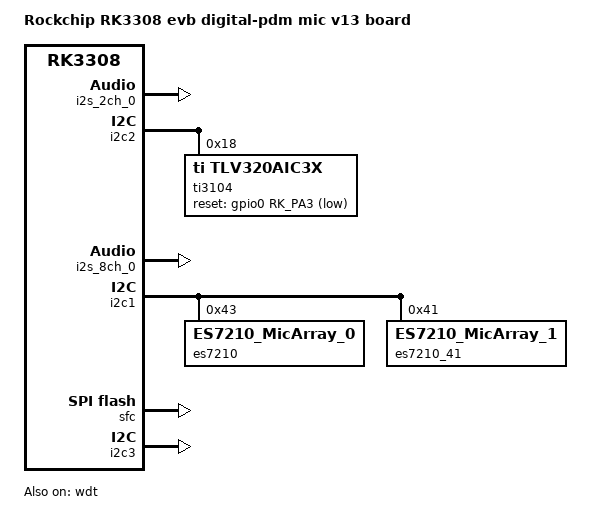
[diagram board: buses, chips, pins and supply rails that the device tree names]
// SPDX-License-Identifier: (GPL-2.0+ OR MIT)
/*
 * Copyright (c) 2018 Fuzhou Rockchip Electronics Co., Ltd
 */

/dts-v1/;

#include "rk3308hs-m800.dtsi"

/ {
	model = "Rockchip RK3308 evb digital-pdm mic v13 board";
	compatible = "rockchip,rk3308-evb-dmic-pdm-v13", "rockchip,rk3308";
	
	es7210_sound: es7210-sound {
		status = "okay";
		compatible = "simple-audio-card";
		simple-audio-card,format = "i2s";
		simple-audio-card,mclk-fs = <256>;
		simple-audio-card,name = "rockchip,es7210";

		simple-audio-card,cpu {
			sound-dai = <&i2s_8ch_0>;
		};
		simple-audio-card,codec {
			sound-dai = <&es7210>;
		};
	};
	
	ti3104_sound: ti3104-sound {
		status = "okay";
		compatible = "simple-audio-card";
		simple-audio-card,format = "i2s";
		simple-audio-card,mclk-fs = <256>;
		simple-audio-card,name = "rockchip,ti3104";

		simple-audio-card,cpu {
			sound-dai = <&i2s_2ch_0>;
		};
		simple-audio-card,codec {
			sound-dai = <&ti3104>;
		};
 	};
};

&i2s_2ch_0 {
	status = "okay";
	#sound-dai-cells = <0>;
	rockchip,clk-trcm = <0x01>;
};

&i2c2 {
	status = "okay";
	ti3104: ti3104@18 {
		#sound-dai-cells = <0x00>;
		reg = <0x18>;
		compatible = "ti,tlv320aic3x";
		clocks = <&cru SCLK_I2S0_2CH_OUT>;
		clock-names = "mclk";
		gpio-reset = <&gpio0 RK_PA3 GPIO_ACTIVE_LOW>;
	};
};

&i2s_8ch_0 {
	status = "okay";
	#sound-dai-cells = <0>;
	rockchip,clk-trcm = <0x02>;
	rockchip,bclk-fs = <64>;
};

&i2c1 {
	status = "okay";
	es7210: es7210@43 {
		#sound-dai-cells = <0x00>;
		reg = <0x43>;
		compatible = "ES7210_MicArray_0";
		clocks = <&cru SCLK_I2S0_8CH_RX_OUT>;
		clock-names = "mclk";
	};
	es7210_41: es7210@41 {
		#sound-dai-cells = <0x00>;
		reg = <0x41>;
		compatible = "ES7210_MicArray_1";
	};
};

&acodec {
	status = "disable";
};

&i2s_8ch_2 {
	status = "disable";
};

&acodec_sound {
	status = "disable";
};

&sfc {
	status = "okay";
};

&wdt {
	status = "okay";
};

&u2phy_otg {
	rockchip,vbus-always-on;
};

&i2c3 {
	status = "okay";
};
